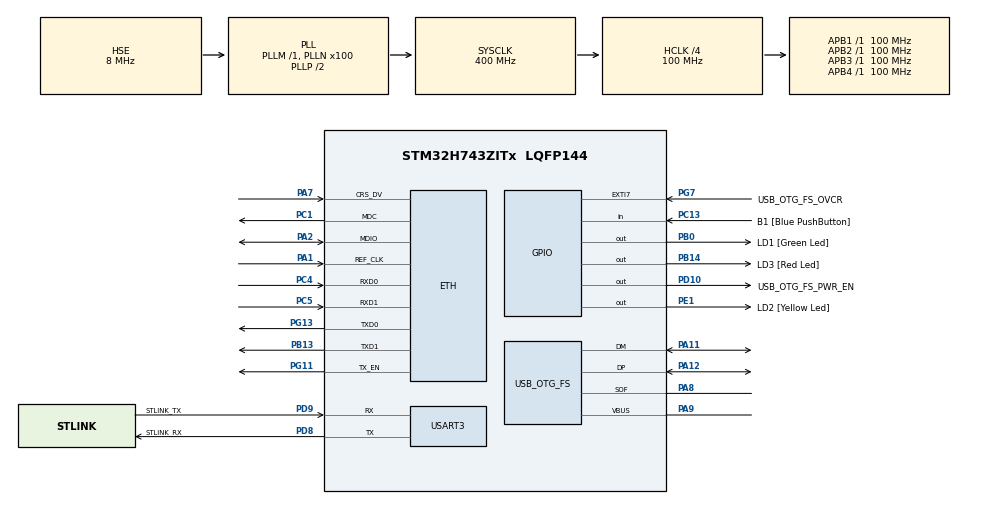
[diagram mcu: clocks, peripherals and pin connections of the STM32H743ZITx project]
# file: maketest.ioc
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ETH.MediaInterface=HAL_ETH_RMII_MODE
Mcu.Family=STM32H7
Mcu.Name=STM32H743ZITx
Mcu.Package=LQFP144
NVIC.PriorityGroup=NVIC_PRIORITYGROUP_4
PA1.Mode=RMII
PA1.Signal=ETH_REF_CLK
PA11.Mode=Device_Only
PA11.Signal=USB_OTG_FS_DM
PA12.Mode=Device_Only
PA12.Signal=USB_OTG_FS_DP
PA2.Mode=RMII
PA2.Signal=ETH_MDIO
PA7.Mode=RMII
PA7.Signal=ETH_CRS_DV
PA8.Mode=Activate_SOF_FS
PA8.Signal=USB_OTG_FS_SOF
PA9.Mode=Activate_VBUS
PA9.Signal=USB_OTG_FS_VBUS
PB0.GPIO_Label=LD1 [Green Led]
PB0.Signal=GPIO_Output
PB13.Mode=RMII
PB13.Signal=ETH_TXD1
PB14.GPIO_Label=LD3 [Red Led]
PB14.Signal=GPIO_Output
PC1.Mode=RMII
PC1.Signal=ETH_MDC
PC13.GPIO_Label=B1 [Blue PushButton]
PC13.Signal=GPIO_Input
PC14-OSC32_IN\ (OSC32_IN).Mode=LSE-External-Oscillator
PC14-OSC32_IN\ (OSC32_IN).Signal=RCC_OSC32_IN
PC15-OSC32_OUT\ (OSC32_OUT).Mode=LSE-External-Oscillator
PC15-OSC32_OUT\ (OSC32_OUT).Signal=RCC_OSC32_OUT
PC4.Mode=RMII
PC4.Signal=ETH_RXD0
PC5.Mode=RMII
PC5.Signal=ETH_RXD1
PD10.GPIO_Label=USB_OTG_FS_PWR_EN
PD10.Signal=GPIO_Output
PD8.GPIO_Label=STLINK_RX
PD8.Mode=Asynchronous
PD8.Signal=USART3_TX
PD9.GPIO_Label=STLINK_TX
PD9.Mode=Asynchronous
PD9.Signal=USART3_RX
PE1.GPIO_Label=LD2 [Yellow Led]
PE1.Signal=GPIO_Output
PG11.Mode=RMII
PG11.Signal=ETH_TX_EN
PG13.Mode=RMII
PG13.Signal=ETH_TXD0
PG7.GPIO_Label=USB_OTG_FS_OVCR
PG7.Signal=GPXTI7
PH0-OSC_IN\ (PH0).Mode=HSE-External-Clock-Source
PH0-OSC_IN\ (PH0).Signal=RCC_OSC_IN
PH1-OSC_OUT\ (PH1).Mode=HSE-External-Clock-Source
PH1-OSC_OUT\ (PH1).Signal=RCC_OSC_OUT
ProjectManager.HeapSize=0x200
ProjectManager.StackSize=0x400
ProjectManager.TargetToolchain=Makefile
RCC.ADCFreq_Value=16125000
RCC.APB1Freq_Value=100000000
RCC.APB2Freq_Value=100000000
RCC.APB3Freq_Value=100000000
RCC.APB4Freq_Value=100000000
RCC.CortexFreq_Value=400000000
RCC.DIVM1=1
RCC.DIVM3=1
RCC.DIVN1=100
RCC.DIVN3=24
RCC.DIVQ1=17
RCC.DIVQ3=4
RCC.HCLKFreq_Value=100000000
RCC.HPRE=RCC_HCLK_DIV4
RCC.HSE_VALUE=8000000
RCC.PLL3FRACN=0
RCC.PLLFRACN=0
RCC.SYSCLKFreq_VALUE=400000000
RCC.SYSCLKSource=RCC_SYSCLKSOURCE_PLLCLK
RCC.USBCLockSelection=RCC_USBCLKSOURCE_PLL3
RCC.USBFreq_Value=48000000
USART3.VirtualMode-Asynchronous=VM_ASYNC
USB_OTG_FS.VirtualMode=Device_Only
board=NUCLEO-H743ZI2

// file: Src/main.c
/* USER CODE BEGIN Header */
/**
  ******************************************************************************
  * @file           : main.c
  * @brief          : Main program body
  ******************************************************************************
  * @attention
  *
  * <h2><center>&copy; Copyright (c) 2019 STMicroelectronics.
  * All rights reserved.</center></h2>
  *
  * This software component is licensed by ST under BSD 3-Clause license,
  * the "License"; You may not use this file except in compliance with the
  * License. You may obtain a copy of the License at:
  *                        opensource.org/licenses/BSD-3-Clause
  *
  ******************************************************************************
  */
/* USER CODE END Header */

#include "main.h"
#include "string.h"

/* USER CODE BEGIN Includes */
#include "logger.h"
/* USER CODE END Includes */

#if defined ( __ICCARM__ ) /*!< IAR Compiler */

#pragma location=0x30040000
ETH_DMADescTypeDef  DMARxDscrTab[ETH_RX_DESC_CNT]; /* Ethernet Rx DMA Descriptors */
#pragma location=0x30040060
ETH_DMADescTypeDef  DMATxDscrTab[ETH_TX_DESC_CNT]; /* Ethernet Tx DMA Descriptors */
#pragma location=0x30040200
uint8_t Rx_Buff[ETH_RX_DESC_CNT][ETH_MAX_PACKET_SIZE]; /* Ethernet Receive Buffers */

#elif defined ( __CC_ARM )  /* MDK ARM Compiler */

__attribute__((at(0x30040000))) ETH_DMADescTypeDef  DMARxDscrTab[ETH_RX_DESC_CNT];         /* Ethernet Rx DMA Descriptors */
__attribute__((at(0x30040060))) ETH_DMADescTypeDef  DMATxDscrTab[ETH_TX_DESC_CNT];         /* Ethernet Tx DMA Descriptors */
__attribute__((at(0x30040200))) uint8_t Rx_Buff[ETH_RX_DESC_CNT][ETH_MAX_PACKET_SIZE];         /* Ethernet Receive Buffer */

#elif defined ( __GNUC__ ) /* GNU Compiler */

ETH_DMADescTypeDef DMARxDscrTab[ETH_RX_DESC_CNT] __attribute__((section(".RxDecripSection")));         /* Ethernet Rx DMA Descriptors */
ETH_DMADescTypeDef DMATxDscrTab[ETH_TX_DESC_CNT] __attribute__((section(".TxDecripSection")));         /* Ethernet Tx DMA Descriptors */
uint8_t Rx_Buff[ETH_RX_DESC_CNT][ETH_MAX_PACKET_SIZE] __attribute__((section(".RxArraySection")));         /* Ethernet Receive Buffers */

#endif

ETH_TxPacketConfig TxConfig;

ETH_HandleTypeDef heth;

UART_HandleTypeDef huart3;

PCD_HandleTypeDef hpcd_USB_OTG_FS;

void SystemClock_Config(void);
static void MX_GPIO_Init(void);
static void MX_ETH_Init(void);
static void MX_USART3_UART_Init(void);
static void MX_USB_OTG_FS_PCD_Init(void);

/* USER CODE BEGIN 0 */

#if 0
// For printf output support
#include <stdio.h>
int _write(int file, char *ptr, int len)
{
  HAL_UART_Transmit(&huart3, (uint8_t *) ptr, len, 0xFF);

#if 0 // SWO
  for (int i = 0 ; i < len ; i++)
  {
    ITM_SendChar((*ptr++));
  }
#endif

  return len;
}
#endif

#define LD1_SET(enable) HAL_GPIO_WritePin(LD1_GPIO_Port, LD1_Pin, (enable?GPIO_PIN_SET:GPIO_PIN_RESET));
#define LD2_SET(enable) HAL_GPIO_WritePin(LD2_GPIO_Port, LD2_Pin, (enable?GPIO_PIN_SET:GPIO_PIN_RESET));
#define LD3_SET(enable) HAL_GPIO_WritePin(LD3_GPIO_Port, LD3_Pin, (enable?GPIO_PIN_SET:GPIO_PIN_RESET));

/* USER CODE END 0 */

int main(void)
{

  /* MCU Configuration--------------------------------------------------------*/

  /* Reset of all peripherals, Initializes the Flash interface and the Systick. */
  HAL_Init();

  /* Configure the system clock */
  SystemClock_Config();

  /* Initialize all configured peripherals */
  MX_GPIO_Init();
  MX_ETH_Init();
  MX_USART3_UART_Init();
  MX_USB_OTG_FS_PCD_Init();
  /* USER CODE BEGIN 2 */

  // LOGGER INIT
  log_init_swo();
  log_init_stm32_uart(&huart3);
  //log_init_semihosting(); // Note: Not great for production. Semihosting is slow and can crash if debug is not connected.
  log_info("Test Project Start");

  /* USER CODE END 2 */

  /* Infinite loop */
  /* USER CODE BEGIN WHILE */
  while (1)
  {
    log_info("ON");
    LD1_SET(1);
    HAL_Delay(100);
    LD2_SET(1);
    HAL_Delay(100);
    LD3_SET(1);
    HAL_Delay(100);

    log_info("OFF");
    LD1_SET(0);
    HAL_Delay(100);
    LD2_SET(0);
    HAL_Delay(100);
    LD3_SET(0);
    HAL_Delay(100);
    /* USER CODE END WHILE */

  }
}

void SystemClock_Config(void)
{
  RCC_OscInitTypeDef RCC_OscInitStruct = {0};
  RCC_ClkInitTypeDef RCC_ClkInitStruct = {0};
  RCC_PeriphCLKInitTypeDef PeriphClkInitStruct = {0};

  /** Supply configuration update enable
  */
  HAL_PWREx_ConfigSupply(PWR_LDO_SUPPLY);
  /** Configure the main internal regulator output voltage
  */
  __HAL_PWR_VOLTAGESCALING_CONFIG(PWR_REGULATOR_VOLTAGE_SCALE1);

  while (!__HAL_PWR_GET_FLAG(PWR_FLAG_VOSRDY)) {}
  /** Macro to configure the PLL clock source
  */
  __HAL_RCC_PLL_PLLSOURCE_CONFIG(RCC_PLLSOURCE_HSE);
  /** Initializes the CPU, AHB and APB busses clocks
  */
  RCC_OscInitStruct.OscillatorType = RCC_OSCILLATORTYPE_HSE;
  RCC_OscInitStruct.HSEState = RCC_HSE_BYPASS;
  RCC_OscInitStruct.PLL.PLLState = RCC_PLL_ON;
  RCC_OscInitStruct.PLL.PLLSource = RCC_PLLSOURCE_HSE;
  RCC_OscInitStruct.PLL.PLLM = 1;
  RCC_OscInitStruct.PLL.PLLN = 100;
  RCC_OscInitStruct.PLL.PLLP = 2;
  RCC_OscInitStruct.PLL.PLLQ = 17;
  RCC_OscInitStruct.PLL.PLLR = 2;
  RCC_OscInitStruct.PLL.PLLRGE = RCC_PLL1VCIRANGE_3;
  RCC_OscInitStruct.PLL.PLLVCOSEL = RCC_PLL1VCOWIDE;
  RCC_OscInitStruct.PLL.PLLFRACN = 0;
  if (HAL_RCC_OscConfig(&RCC_OscInitStruct) != HAL_OK)
  {
    Error_Handler();
  }
  /** Initializes the CPU, AHB and APB busses clocks
  */
  RCC_ClkInitStruct.ClockType = RCC_CLOCKTYPE_HCLK | RCC_CLOCKTYPE_SYSCLK
                                | RCC_CLOCKTYPE_PCLK1 | RCC_CLOCKTYPE_PCLK2
                                | RCC_CLOCKTYPE_D3PCLK1 | RCC_CLOCKTYPE_D1PCLK1;
  RCC_ClkInitStruct.SYSCLKSource = RCC_SYSCLKSOURCE_PLLCLK;
  RCC_ClkInitStruct.SYSCLKDivider = RCC_SYSCLK_DIV1;
  RCC_ClkInitStruct.AHBCLKDivider = RCC_HCLK_DIV4;
  RCC_ClkInitStruct.APB3CLKDivider = RCC_APB3_DIV1;
  RCC_ClkInitStruct.APB1CLKDivider = RCC_APB1_DIV1;
  RCC_ClkInitStruct.APB2CLKDivider = RCC_APB2_DIV1;
  RCC_ClkInitStruct.APB4CLKDivider = RCC_APB4_DIV1;

  if (HAL_RCC_ClockConfig(&RCC_ClkInitStruct, FLASH_LATENCY_1) != HAL_OK)
  {
    Error_Handler();
  }
  PeriphClkInitStruct.PeriphClockSelection = RCC_PERIPHCLK_USART3 | RCC_PERIPHCLK_USB;
  PeriphClkInitStruct.PLL3.PLL3M = 1;
  PeriphClkInitStruct.PLL3.PLL3N = 24;
  PeriphClkInitStruct.PLL3.PLL3P = 2;
  PeriphClkInitStruct.PLL3.PLL3Q = 4;
  PeriphClkInitStruct.PLL3.PLL3R = 2;
  PeriphClkInitStruct.PLL3.PLL3RGE = RCC_PLL3VCIRANGE_3;
  PeriphClkInitStruct.PLL3.PLL3VCOSEL = RCC_PLL3VCOWIDE;
  PeriphClkInitStruct.PLL3.PLL3FRACN = 0;
  PeriphClkInitStruct.Usart234578ClockSelection = RCC_USART234578CLKSOURCE_D2PCLK1;
  PeriphClkInitStruct.UsbClockSelection = RCC_USBCLKSOURCE_PLL3;
  if (HAL_RCCEx_PeriphCLKConfig(&PeriphClkInitStruct) != HAL_OK)
  {
    Error_Handler();
  }
  /** Enable USB Voltage detector
  */
  HAL_PWREx_EnableUSBVoltageDetector();
}

static void MX_ETH_Init(void)
{

  heth.Instance = ETH;
  heth.Init.MACAddr[0] =   0x00;
  heth.Init.MACAddr[1] =   0x80;
  heth.Init.MACAddr[2] =   0xE1;
  heth.Init.MACAddr[3] =   0x00;
  heth.Init.MACAddr[4] =   0x00;
  heth.Init.MACAddr[5] =   0x00;
  heth.Init.MediaInterface = HAL_ETH_RMII_MODE;
  heth.Init.TxDesc = DMATxDscrTab;
  heth.Init.RxDesc = DMARxDscrTab;
  heth.Init.RxBuffLen = 1524;

  if (HAL_ETH_Init(&heth) != HAL_OK)
  {
    Error_Handler();
  }

  memset(&TxConfig, 0, sizeof(ETH_TxPacketConfig));
  TxConfig.Attributes = ETH_TX_PACKETS_FEATURES_CSUM | ETH_TX_PACKETS_FEATURES_CRCPAD;
  TxConfig.ChecksumCtrl = ETH_CHECKSUM_IPHDR_PAYLOAD_INSERT_PHDR_CALC;
  TxConfig.CRCPadCtrl = ETH_CRC_PAD_INSERT;

}

static void MX_USART3_UART_Init(void)
{

  huart3.Instance = USART3;
  huart3.Init.BaudRate = 115200;
  huart3.Init.WordLength = UART_WORDLENGTH_8B;
  huart3.Init.StopBits = UART_STOPBITS_1;
  huart3.Init.Parity = UART_PARITY_NONE;
  huart3.Init.Mode = UART_MODE_TX_RX;
  huart3.Init.HwFlowCtl = UART_HWCONTROL_NONE;
  huart3.Init.OverSampling = UART_OVERSAMPLING_16;
  huart3.Init.OneBitSampling = UART_ONE_BIT_SAMPLE_DISABLE;
  huart3.Init.ClockPrescaler = UART_PRESCALER_DIV1;
  huart3.AdvancedInit.AdvFeatureInit = UART_ADVFEATURE_NO_INIT;
  if (HAL_UART_Init(&huart3) != HAL_OK)
  {
    Error_Handler();
  }
  if (HAL_UARTEx_SetTxFifoThreshold(&huart3, UART_TXFIFO_THRESHOLD_1_8) != HAL_OK)
  {
    Error_Handler();
  }
  if (HAL_UARTEx_SetRxFifoThreshold(&huart3, UART_RXFIFO_THRESHOLD_1_8) != HAL_OK)
  {
    Error_Handler();
  }
  if (HAL_UARTEx_DisableFifoMode(&huart3) != HAL_OK)
  {
    Error_Handler();
  }

}

static void MX_USB_OTG_FS_PCD_Init(void)
{

  hpcd_USB_OTG_FS.Instance = USB_OTG_FS;
  hpcd_USB_OTG_FS.Init.dev_endpoints = 9;
  hpcd_USB_OTG_FS.Init.speed = PCD_SPEED_FULL;
  hpcd_USB_OTG_FS.Init.dma_enable = DISABLE;
  hpcd_USB_OTG_FS.Init.phy_itface = PCD_PHY_EMBEDDED;
  hpcd_USB_OTG_FS.Init.Sof_enable = ENABLE;
  hpcd_USB_OTG_FS.Init.low_power_enable = DISABLE;
  hpcd_USB_OTG_FS.Init.lpm_enable = DISABLE;
  hpcd_USB_OTG_FS.Init.battery_charging_enable = ENABLE;
  hpcd_USB_OTG_FS.Init.vbus_sensing_enable = ENABLE;
  hpcd_USB_OTG_FS.Init.use_dedicated_ep1 = DISABLE;
  if (HAL_PCD_Init(&hpcd_USB_OTG_FS) != HAL_OK)
  {
    Error_Handler();
  }

}

static void MX_GPIO_Init(void)
{
  GPIO_InitTypeDef GPIO_InitStruct = {0};

  /* GPIO Ports Clock Enable */
  __HAL_RCC_GPIOC_CLK_ENABLE();
  __HAL_RCC_GPIOH_CLK_ENABLE();
  __HAL_RCC_GPIOA_CLK_ENABLE();
  __HAL_RCC_GPIOB_CLK_ENABLE();
  __HAL_RCC_GPIOD_CLK_ENABLE();
  __HAL_RCC_GPIOG_CLK_ENABLE();
  __HAL_RCC_GPIOE_CLK_ENABLE();

  /*Configure GPIO pin Output Level */
  HAL_GPIO_WritePin(GPIOB, LD1_Pin | LD3_Pin, GPIO_PIN_RESET);

  /*Configure GPIO pin Output Level */
  HAL_GPIO_WritePin(USB_OTG_FS_PWR_EN_GPIO_Port, USB_OTG_FS_PWR_EN_Pin, GPIO_PIN_RESET);

  /*Configure GPIO pin Output Level */
  HAL_GPIO_WritePin(LD2_GPIO_Port, LD2_Pin, GPIO_PIN_RESET);

  /*Configure GPIO pin : B1_Pin */
  GPIO_InitStruct.Pin = B1_Pin;
  GPIO_InitStruct.Mode = GPIO_MODE_INPUT;
  GPIO_InitStruct.Pull = GPIO_NOPULL;
  HAL_GPIO_Init(B1_GPIO_Port, &GPIO_InitStruct);

  /*Configure GPIO pins : LD1_Pin LD3_Pin */
  GPIO_InitStruct.Pin = LD1_Pin | LD3_Pin;
  GPIO_InitStruct.Mode = GPIO_MODE_OUTPUT_PP;
  GPIO_InitStruct.Pull = GPIO_NOPULL;
  GPIO_InitStruct.Speed = GPIO_SPEED_FREQ_LOW;
  HAL_GPIO_Init(GPIOB, &GPIO_InitStruct);

  /*Configure GPIO pin : USB_OTG_FS_PWR_EN_Pin */
  GPIO_InitStruct.Pin = USB_OTG_FS_PWR_EN_Pin;
  GPIO_InitStruct.Mode = GPIO_MODE_OUTPUT_PP;
  GPIO_InitStruct.Pull = GPIO_NOPULL;
  GPIO_InitStruct.Speed = GPIO_SPEED_FREQ_LOW;
  HAL_GPIO_Init(USB_OTG_FS_PWR_EN_GPIO_Port, &GPIO_InitStruct);

  /*Configure GPIO pin : USB_OTG_FS_OVCR_Pin */
  GPIO_InitStruct.Pin = USB_OTG_FS_OVCR_Pin;
  GPIO_InitStruct.Mode = GPIO_MODE_IT_RISING;
  GPIO_InitStruct.Pull = GPIO_NOPULL;
  HAL_GPIO_Init(USB_OTG_FS_OVCR_GPIO_Port, &GPIO_InitStruct);

  /*Configure GPIO pin : LD2_Pin */
  GPIO_InitStruct.Pin = LD2_Pin;
  GPIO_InitStruct.Mode = GPIO_MODE_OUTPUT_PP;
  GPIO_InitStruct.Pull = GPIO_NOPULL;
  GPIO_InitStruct.Speed = GPIO_SPEED_FREQ_LOW;
  HAL_GPIO_Init(LD2_GPIO_Port, &GPIO_InitStruct);

}

void Error_Handler(void)
{
}

/************************ (C) COPYRIGHT STMicroelectronics *****END OF FILE****/
